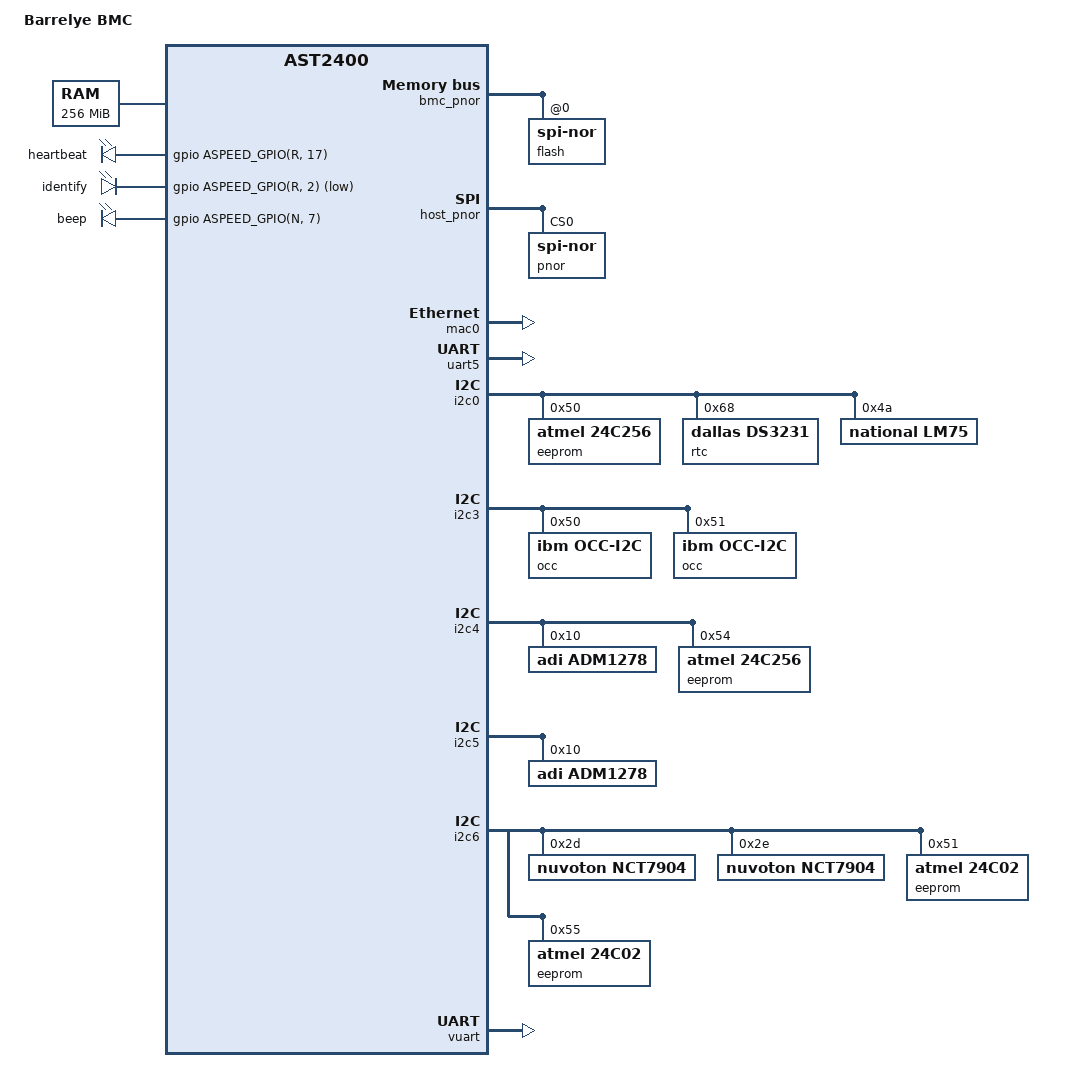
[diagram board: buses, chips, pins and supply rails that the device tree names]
/dts-v1/;

#include "aspeed-g4.dtsi"
#include <dt-bindings/gpio/aspeed-gpio.h>

/ {
	model = "Barrelye BMC";
	compatible = "rackspace,barreleye-bmc", "aspeed,ast2400";

	aliases {
		serial4 = &uart5;
		serial5 = &vuart;
	};

	chosen {
		stdout-path = &uart5;
		bootargs = "console=ttyS4,115200 earlyprintk";
	};

	memory {
		reg = <0x40000000 0x10000000>;
	};

	ahb {
		bmc_pnor: fmc@1e620000 {
			reg = < 0x1e620000 0x94
				0x20000000 0x02000000 >;
			#address-cells = <1>;
			#size-cells = <0>;
			compatible = "aspeed,ast2400-fmc";
			flash@0 {
				reg = < 0 >;
				compatible = "jedec,spi-nor" ;
#include "aspeed-bmc-opp-flash-layout.dtsi"
			};
		};

		host_pnor: spi@1e630000 {
			reg = < 0x1e630000 0x18
				0x30000000 0x02000000 >;
			#address-cells = <1>;
			#size-cells = <0>;
			compatible = "aspeed,ast2400-smc";
			flash {
				reg = < 0 >;
				compatible = "jedec,spi-nor" ;
				label = "pnor";
			};
		};
	};

	leds {
		compatible = "gpio-leds";

		heartbeat {
			gpios = <&gpio ASPEED_GPIO(R, 17) GPIO_ACTIVE_HIGH>;
		};

		identify {
			gpios = <&gpio ASPEED_GPIO(R, 2) GPIO_ACTIVE_LOW>;
		};

		beep {
			gpios = <&gpio ASPEED_GPIO(N, 7) GPIO_ACTIVE_HIGH>;
		};
	};
};

&pinctrl {
	pinctrl-names = "default";
	pinctrl-0 = <&pinctrl_flbusy_default &pinctrl_flwp_default
			&pinctrl_vgahs_default &pinctrl_vgavs_default
			&pinctrl_ddcclk_default &pinctrl_ddcdat_default
			&pinctrl_bmcint_default &pinctrl_flack_default>;
};

&mac0 {
	status = "okay";

	use-ncsi;
	no-hw-checksum;
};


&uart5 {
	status = "okay";
};


&i2c0 {
	status = "okay";

	eeprom@50 {
		compatible = "atmel,24c256";
		reg = <0x50>;
		pagesize = <64>;
	};

	rtc@68 {
		compatible = "dallas,ds3231";
		reg = <0x68>;
	};

	lm75@4a {
		compatible = "national,lm75";
		reg = <0x4a>;
	};
};

&i2c3 {
	status = "okay";

	occ@50 {
		compatible = "ibm,occ-i2c";
		reg = <0x50>;
	};

	occ@51 {
		compatible = "ibm,occ-i2c";
		reg = <0x51>;
	};
};

&i2c4 {
	status = "okay";

	adm1278@10 {
		// P12V_a for CPU0
		compatible = "adi,adm1278";
		reg = <0x10>;
		sense-resistor = <500>;
	};

	eeprom@54 {
		compatible = "atmel,24c256";
		reg = <0x54>;
		pagesize = <64>;
	};
};

&i2c5 {
	status = "okay";

	adm1278@10 {
		// P12V_b for CPU1
		compatible = "adi,adm1278";
		reg = <0x10>;
		sense-resistor = <500>;
	};
};

&i2c6 {
	status = "okay";

	nct7904@2d {
		compatible = "nuvoton,nct7904";
		reg = <0x2d>;
	};

	nct7904@2e {
		compatible = "nuvoton,nct7904";
		reg = <0x2e>;
	};

	eeprom@51 {
		compatible = "atmel,24c02";
		reg = <0x51>;
		pagesize = <8>;
	};

	eeprom@55 {
		compatible = "atmel,24c02";
		reg = <0x55>;
		pagesize = <8>;
	};
};

&vuart {
	status = "okay";
};
